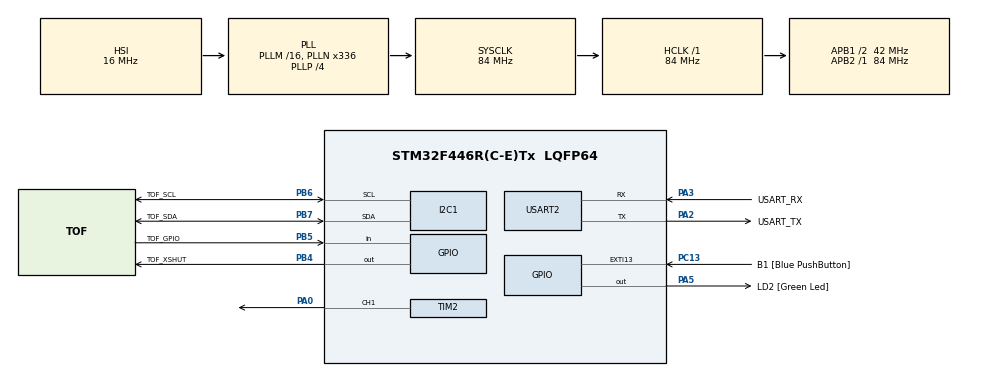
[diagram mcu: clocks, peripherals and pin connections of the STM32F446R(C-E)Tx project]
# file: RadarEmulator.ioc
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FREERTOS.Tasks01=defaultTask,24,128,StartDefaultTask,Default,NULL,Dynamic,NULL,NULL
FREERTOS.configUSE_NEWLIB_REENTRANT=1
I2C1.I2C_Mode=I2C_Fast
I2C1.OwnAddress=0
Mcu.Family=STM32F4
Mcu.Name=STM32F446R(C-E)Tx
Mcu.Package=LQFP64
NVIC.PriorityGroup=NVIC_PRIORITYGROUP_4
NVIC.TIM1_UP_TIM10_IRQn=true\:0\:0\:true\:false\:true\:false\:false\:true\:true
NVIC.TimeBase=TIM1_UP_TIM10_IRQn
NVIC.TimeBaseIP=TIM1
PA0-WKUP.Signal=S_TIM2_CH1_ETR
PA13.GPIO_Label=TMS
PA13.Mode=Trace_Asynchronous_SW
PA13.Signal=SYS_JTMS-SWDIO
PA14.GPIO_Label=TCK
PA14.Mode=Trace_Asynchronous_SW
PA14.Signal=SYS_JTCK-SWCLK
PA2.GPIO_Label=USART_TX
PA2.Mode=Asynchronous
PA2.Signal=USART2_TX
PA3.GPIO_Label=USART_RX
PA3.Mode=Asynchronous
PA3.Signal=USART2_RX
PA5.GPIO_Label=LD2 [Green Led]
PA5.Signal=GPIO_Output
PB3.GPIO_Label=SWO
PB3.Mode=Trace_Asynchronous_SW
PB3.Signal=SYS_JTDO-SWO
PB4.GPIO_Label=TOF_XSHUT
PB4.Signal=GPIO_Output
PB5.GPIO_Label=TOF_GPIO
PB5.Signal=GPIO_Input
PB6.GPIO_Label=TOF_SCL
PB6.GPIO_Pu=GPIO_NOPULL
PB6.GPIO_Speed=GPIO_SPEED_FREQ_VERY_HIGH
PB6.Mode=I2C
PB6.Signal=I2C1_SCL
PB7.GPIO_Label=TOF_SDA
PB7.GPIO_Pu=GPIO_NOPULL
PB7.GPIO_Speed=GPIO_SPEED_FREQ_VERY_HIGH
PB7.Mode=I2C
PB7.Signal=I2C1_SDA
PC13.GPIO_Label=B1 [Blue PushButton]
PC13.GPIO_ModeDefaultEXTI=GPIO_MODE_IT_FALLING
PC13.Signal=GPXTI13
PC14-OSC32_IN.Mode=LSE-External-Oscillator
PC14-OSC32_IN.Signal=RCC_OSC32_IN
PC15-OSC32_OUT.Mode=LSE-External-Oscillator
PC15-OSC32_OUT.Signal=RCC_OSC32_OUT
PH0-OSC_IN.Mode=HSE-External-Oscillator
PH0-OSC_IN.Signal=RCC_OSC_IN
PH1-OSC_OUT.Mode=HSE-External-Oscillator
PH1-OSC_OUT.Signal=RCC_OSC_OUT
ProjectManager.HeapSize=0x200
ProjectManager.StackSize=0x400
ProjectManager.TargetToolchain=STM32CubeIDE
RCC.48MHZClocksFreq_Value=84000000
RCC.AHBFreq_Value=84000000
RCC.APB1CLKDivider=RCC_HCLK_DIV2
RCC.APB1Freq_Value=42000000
RCC.APB1TimFreq_Value=84000000
RCC.APB2Freq_Value=84000000
RCC.APB2TimFreq_Value=84000000
RCC.CortexFreq_Value=84000000
RCC.FLatency-AdvancedSettings=FLASH_LATENCY_2
RCC.HCLKFreq_Value=84000000
RCC.HSE_VALUE=8000000
RCC.HSI_VALUE=16000000
RCC.PLLN=336
RCC.PLLP=RCC_PLLP_DIV4
RCC.SYSCLKFreq_VALUE=84000000
RCC.SYSCLKSource=RCC_SYSCLKSOURCE_PLLCLK
RCC.USBFreq_Value=168000000
RCC.VCOOutputFreq_Value=336000000
SH.S_TIM2_CH1_ETR.0=TIM2_CH1,PWM Generation1 CH1
TIM2.AutoReloadPreload=TIM_AUTORELOAD_PRELOAD_ENABLE
TIM2.Channel-PWM\ Generation1\ CH1=TIM_CHANNEL_1
TIM2.Period=1680 - 1
TIM2.Prescaler=200 - 1
TIM2.Pulse-PWM\ Generation1\ CH1=0
USART2.VirtualMode=VM_ASYNC
VP_FREERTOS_VS_CMSIS_V2.Mode=CMSIS_V2
VP_SYS_VS_tim1.Mode=TIM1
VP_TIM2_VS_ClockSourceINT.Mode=Internal
board=NUCLEO-F446RE

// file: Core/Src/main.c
/* USER CODE BEGIN Header */
/**
  ******************************************************************************
  * @file           : main.c
  * @brief          : Main program body
  ******************************************************************************
  * @attention
  *
  * Copyright (c) 2026 STMicroelectronics.
  * All rights reserved.
  *
  * This software is licensed under terms that can be found in the LICENSE file
  * in the root directory of this software component.
  * If no LICENSE file comes with this software, it is provided AS-IS.
  *
  ******************************************************************************
  */
/* USER CODE END Header */
#include "main.h"
#include "cmsis_os.h"

/* USER CODE BEGIN Includes */
#include <VL53L1X_api.h>
#include <queue.h>
#include <radar_emulator/config.h>
#include <radar_emulator/sensor.h>
#include <radar_emulator/task.h>
#include <semphr.h>
#include "radar_emulator/angle.h"
/* USER CODE END Includes */

I2C_HandleTypeDef hi2c1;

TIM_HandleTypeDef htim2;

UART_HandleTypeDef huart2;

/* Definitions for defaultTask */
osThreadId_t defaultTaskHandle;
const osThreadAttr_t defaultTask_attributes = {
  .name = "defaultTask",
  .stack_size = 128 * 4,
  .priority = (osPriority_t) osPriorityNormal,
};

void SystemClock_Config(void);
static void MX_GPIO_Init(void);
static void MX_USART2_UART_Init(void);
static void MX_TIM2_Init(void);
static void MX_I2C1_Init(void);
void StartDefaultTask(void *argument);

/* USER CODE BEGIN 0 */
int _write(int file, char *ptr, int len)
 {
	 int DataIdx;
	 for (DataIdx = 0; DataIdx < len; DataIdx++)
	 {
		 ITM_SendChar(*ptr++);
	 }
	 return len;
 }
/* USER CODE END 0 */

int main(void)
{

  /* USER CODE BEGIN 1 */
	const char* searchPCName = "generalSearch";
	const char* trackPCName = "trackSearch";
	const char* logPCName = "logging";
	const uint16_t searchStackDepth = 256;
	const uint16_t trackStackDepth = 256;
	const uint16_t logStackDepth = 512;
	const UBaseType_t searchPriority = 1;
	const UBaseType_t trackPriority = 2;
	const UBaseType_t logPriority = 1;

	// system clock = 84MHz
	// timer = 16 bit register
	// prescaler = 200, resolution = 840
	// 84M / 200 = 42 KHz
	// 42 KHz / 840 = 50 Hz sensor
	static const ServoConfig_t servo = {
			.timerHandle = &htim2,
			.channel = TIM_CHANNEL_1
	};

  /* USER CODE END 1 */

  /* MCU Configuration--------------------------------------------------------*/

  /* Reset of all peripherals, Initializes the Flash interface and the Systick. */
  HAL_Init();

  /* USER CODE BEGIN Init */
  InitTask();

  /* USER CODE END Init */

  /* Configure the system clock */
  SystemClock_Config();

  /* Initialize all configured peripherals */
  MX_GPIO_Init();
  MX_USART2_UART_Init();
  MX_TIM2_Init();
  MX_I2C1_Init();
  /* USER CODE BEGIN 2 */
  InitRadarEmulatorSensor(TOF_XSHUT_GPIO_Port, TOF_XSHUT_Pin);

  HAL_TIM_PWM_Start(servo.timerHandle, servo.channel);

  xTaskCreate(SearchTask, searchPCName, searchStackDepth, (void*)&servo, searchPriority, NULL);
  xTaskCreate(TrackTask, trackPCName, trackStackDepth, (void*)&servo, trackPriority, NULL);
  xTaskCreate(LogTask, logPCName, logStackDepth, NULL, logPriority, NULL);
  /* USER CODE END 2 */

  /* Init scheduler */
  osKernelInitialize();

  /* Create the thread(s) */
  /* creation of defaultTask */
  defaultTaskHandle = osThreadNew(StartDefaultTask, NULL, &defaultTask_attributes);

  /* Start scheduler */
  osKernelStart();

  /* We should never get here as control is now taken by the scheduler */

  /* Infinite loop */
  while (1)
  {

  }
}

void SystemClock_Config(void)
{
  RCC_OscInitTypeDef RCC_OscInitStruct = {0};
  RCC_ClkInitTypeDef RCC_ClkInitStruct = {0};

  /** Configure the main internal regulator output voltage
  */
  __HAL_RCC_PWR_CLK_ENABLE();
  __HAL_PWR_VOLTAGESCALING_CONFIG(PWR_REGULATOR_VOLTAGE_SCALE3);

  /** Initializes the RCC Oscillators according to the specified parameters
  * in the RCC_OscInitTypeDef structure.
  */
  RCC_OscInitStruct.OscillatorType = RCC_OSCILLATORTYPE_HSI;
  RCC_OscInitStruct.HSIState = RCC_HSI_ON;
  RCC_OscInitStruct.HSICalibrationValue = RCC_HSICALIBRATION_DEFAULT;
  RCC_OscInitStruct.PLL.PLLState = RCC_PLL_ON;
  RCC_OscInitStruct.PLL.PLLSource = RCC_PLLSOURCE_HSI;
  RCC_OscInitStruct.PLL.PLLM = 16;
  RCC_OscInitStruct.PLL.PLLN = 336;
  RCC_OscInitStruct.PLL.PLLP = RCC_PLLP_DIV4;
  RCC_OscInitStruct.PLL.PLLQ = 2;
  RCC_OscInitStruct.PLL.PLLR = 2;
  if (HAL_RCC_OscConfig(&RCC_OscInitStruct) != HAL_OK)
  {
    Error_Handler();
  }

  /** Initializes the CPU, AHB and APB buses clocks
  */
  RCC_ClkInitStruct.ClockType = RCC_CLOCKTYPE_HCLK|RCC_CLOCKTYPE_SYSCLK
                              |RCC_CLOCKTYPE_PCLK1|RCC_CLOCKTYPE_PCLK2;
  RCC_ClkInitStruct.SYSCLKSource = RCC_SYSCLKSOURCE_PLLCLK;
  RCC_ClkInitStruct.AHBCLKDivider = RCC_SYSCLK_DIV1;
  RCC_ClkInitStruct.APB1CLKDivider = RCC_HCLK_DIV2;
  RCC_ClkInitStruct.APB2CLKDivider = RCC_HCLK_DIV1;

  if (HAL_RCC_ClockConfig(&RCC_ClkInitStruct, FLASH_LATENCY_2) != HAL_OK)
  {
    Error_Handler();
  }
}

static void MX_I2C1_Init(void)
{

  hi2c1.Instance = I2C1;
  hi2c1.Init.ClockSpeed = 400000;
  hi2c1.Init.DutyCycle = I2C_DUTYCYCLE_2;
  hi2c1.Init.OwnAddress1 = 0;
  hi2c1.Init.AddressingMode = I2C_ADDRESSINGMODE_7BIT;
  hi2c1.Init.DualAddressMode = I2C_DUALADDRESS_DISABLE;
  hi2c1.Init.OwnAddress2 = 0;
  hi2c1.Init.GeneralCallMode = I2C_GENERALCALL_DISABLE;
  hi2c1.Init.NoStretchMode = I2C_NOSTRETCH_DISABLE;
  if (HAL_I2C_Init(&hi2c1) != HAL_OK)
  {
    Error_Handler();
  }

}

static void MX_TIM2_Init(void)
{

  TIM_ClockConfigTypeDef sClockSourceConfig = {0};
  TIM_MasterConfigTypeDef sMasterConfig = {0};
  TIM_OC_InitTypeDef sConfigOC = {0};

  htim2.Instance = TIM2;
  htim2.Init.Prescaler = 200 - 1;
  htim2.Init.CounterMode = TIM_COUNTERMODE_UP;
  htim2.Init.Period = 1680 - 1;
  htim2.Init.ClockDivision = TIM_CLOCKDIVISION_DIV1;
  htim2.Init.AutoReloadPreload = TIM_AUTORELOAD_PRELOAD_ENABLE;
  if (HAL_TIM_Base_Init(&htim2) != HAL_OK)
  {
    Error_Handler();
  }
  sClockSourceConfig.ClockSource = TIM_CLOCKSOURCE_INTERNAL;
  if (HAL_TIM_ConfigClockSource(&htim2, &sClockSourceConfig) != HAL_OK)
  {
    Error_Handler();
  }
  if (HAL_TIM_PWM_Init(&htim2) != HAL_OK)
  {
    Error_Handler();
  }
  sMasterConfig.MasterOutputTrigger = TIM_TRGO_RESET;
  sMasterConfig.MasterSlaveMode = TIM_MASTERSLAVEMODE_DISABLE;
  if (HAL_TIMEx_MasterConfigSynchronization(&htim2, &sMasterConfig) != HAL_OK)
  {
    Error_Handler();
  }
  sConfigOC.OCMode = TIM_OCMODE_PWM1;
  sConfigOC.Pulse = 0;
  sConfigOC.OCPolarity = TIM_OCPOLARITY_HIGH;
  sConfigOC.OCFastMode = TIM_OCFAST_DISABLE;
  if (HAL_TIM_PWM_ConfigChannel(&htim2, &sConfigOC, TIM_CHANNEL_1) != HAL_OK)
  {
    Error_Handler();
  }
  HAL_TIM_MspPostInit(&htim2);

}

static void MX_USART2_UART_Init(void)
{

  huart2.Instance = USART2;
  huart2.Init.BaudRate = 115200;
  huart2.Init.WordLength = UART_WORDLENGTH_8B;
  huart2.Init.StopBits = UART_STOPBITS_1;
  huart2.Init.Parity = UART_PARITY_NONE;
  huart2.Init.Mode = UART_MODE_TX_RX;
  huart2.Init.HwFlowCtl = UART_HWCONTROL_NONE;
  huart2.Init.OverSampling = UART_OVERSAMPLING_16;
  if (HAL_UART_Init(&huart2) != HAL_OK)
  {
    Error_Handler();
  }

}

static void MX_GPIO_Init(void)
{
  GPIO_InitTypeDef GPIO_InitStruct = {0};

  /* GPIO Ports Clock Enable */
  __HAL_RCC_GPIOC_CLK_ENABLE();
  __HAL_RCC_GPIOH_CLK_ENABLE();
  __HAL_RCC_GPIOA_CLK_ENABLE();
  __HAL_RCC_GPIOB_CLK_ENABLE();

  /*Configure GPIO pin Output Level */
  HAL_GPIO_WritePin(LD2_GPIO_Port, LD2_Pin, GPIO_PIN_RESET);

  /*Configure GPIO pin Output Level */
  HAL_GPIO_WritePin(TOF_XSHUT_GPIO_Port, TOF_XSHUT_Pin, GPIO_PIN_RESET);

  /*Configure GPIO pin : B1_Pin */
  GPIO_InitStruct.Pin = B1_Pin;
  GPIO_InitStruct.Mode = GPIO_MODE_IT_FALLING;
  GPIO_InitStruct.Pull = GPIO_NOPULL;
  HAL_GPIO_Init(B1_GPIO_Port, &GPIO_InitStruct);

  /*Configure GPIO pin : LD2_Pin */
  GPIO_InitStruct.Pin = LD2_Pin;
  GPIO_InitStruct.Mode = GPIO_MODE_OUTPUT_PP;
  GPIO_InitStruct.Pull = GPIO_NOPULL;
  GPIO_InitStruct.Speed = GPIO_SPEED_FREQ_LOW;
  HAL_GPIO_Init(LD2_GPIO_Port, &GPIO_InitStruct);

  /*Configure GPIO pin : TOF_XSHUT_Pin */
  GPIO_InitStruct.Pin = TOF_XSHUT_Pin;
  GPIO_InitStruct.Mode = GPIO_MODE_OUTPUT_PP;
  GPIO_InitStruct.Pull = GPIO_NOPULL;
  GPIO_InitStruct.Speed = GPIO_SPEED_FREQ_LOW;
  HAL_GPIO_Init(TOF_XSHUT_GPIO_Port, &GPIO_InitStruct);

  /*Configure GPIO pin : TOF_GPIO_Pin */
  GPIO_InitStruct.Pin = TOF_GPIO_Pin;
  GPIO_InitStruct.Mode = GPIO_MODE_INPUT;
  GPIO_InitStruct.Pull = GPIO_NOPULL;
  HAL_GPIO_Init(TOF_GPIO_GPIO_Port, &GPIO_InitStruct);

}

/* USER CODE BEGIN 4 */
/*
 * Helper Functions
 *
 */

/* USER CODE END 4 */

void StartDefaultTask(void *argument)
{
  for(;;)
  {
    osDelay(1);
  }
}

void HAL_TIM_PeriodElapsedCallback(TIM_HandleTypeDef *htim)
{
  if (htim->Instance == TIM1)
  {
    HAL_IncTick();
  }
}

void Error_Handler(void)
{
  __disable_irq();
  while (1)
  {
  }
}
